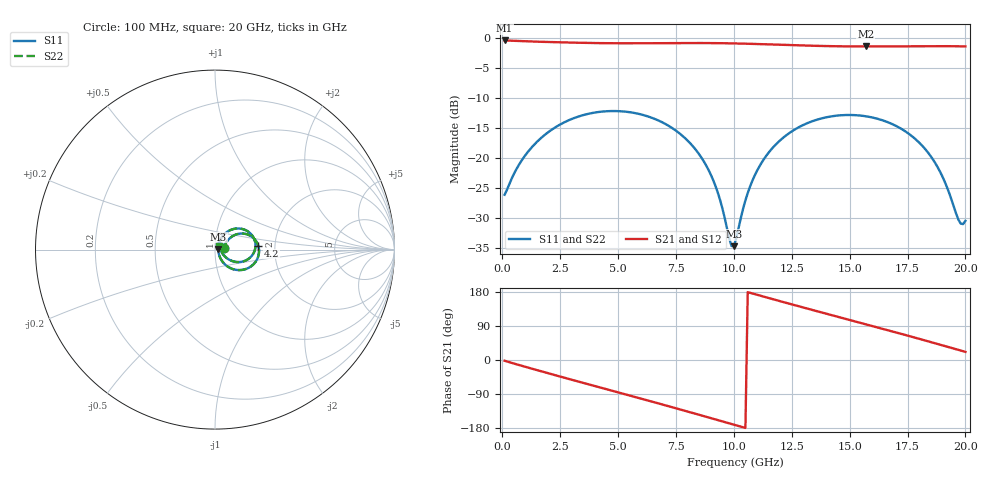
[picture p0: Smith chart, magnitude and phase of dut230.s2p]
! Touchstone file exported from HFSS 2026.1.0
!  File:  C:/ffzhzh/LocalFiles/Ansys_Project_Files/temp_train_TSV_RDL_230_1783064601_18316.aedt
!  Generated:  03:56:10 PM Jul  3, 2026
!  Design:  TSV_RDL
!  Project:  temp_train_TSV_RDL_230_1783064601_18316
! Variables:
!  h_bsmrdl = 2.21um
!  h_ox = 20um
!  h_rdl = 5um
!  h_sub = 70.96um
!  h_tmrdl = 3.82um
!  h_tsv = 70.96um
!  h_via = 3um
!  l_bsmrdl = 473.05um
!  l_sub = 5794.61um
!  l_tmrdl = 969.49um
!  m_sub = 200um
!  pitch = 21.45um
!  r_tsv = 2.15um
!  s_tmrdl = 10um
!  w_bsmrdl = 18.75um
!  w_sub = 500um
!  w_tmrdl = 13.75um
!  x_tsv_center1 = 976.365um
!  x_tsv_center2 = 1468.165um
!  x_tsv_center3 = 2451.405um
!  x_tsv_center4 = 2943.205um
!  x_tsv_center5 = 3926.445um
!  x_tsv_center6 = 4418.245um
# GHz S MA R 50.000000
! Terminal data exported
! Port[1] = TM_RDL1_1_T1
! Port[2] = TM_RDL5_1_T1
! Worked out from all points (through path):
!   200 points, 100 MHz to 20 GHz, reference 50 ohm
!   highest |S21| = -0.43 dB at 100 MHz (marker M1); lowest = -1.4 dB at 15.7 GHz (marker M2)
!   group delay of S21, straight-line fit = 46.8 ps
!   lowest |S11| = -34.7 dB at 10 GHz (marker M3), VSWR 1.04, Z = 51.8 + j0.397 ohm
!   |S11| at or under -10 dB: start of sweep to end of sweep
!   |S22| runs from -34.7 to -12.2 dB; largest |S21 - S12| = 1.7e-14
!   S11 on the Smith chart (normalised r, x): 100 MHz: 1.10, +0.02; 4.2 GHz: 1.63, +0.08; 20 GHz: 1.05, +0.04
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0.1  0.04925 11.4  0.952 -2.0  0.952 -2.0  0.04925 11.4
! Gamma 0 0 0 0
! Port Impedance 50 0 50 0
0.7  0.08634 35.8  0.9406 -12.9  0.9406 -12.9  0.08634 35.8
1.5  0.1362 36.5  0.9298 -26.7  0.9298 -26.7  0.1362 36.5
3.5  0.2273 15.0  0.9093 -60.5  0.9093 -60.5  0.2274 15.0
4.2  0.2417 5.4  0.9047 -72.1  0.9047 -72.1  0.2417 5.4
5.5  0.2403 -13.4  0.9016 -93.7  0.9016 -93.7  0.2403 -13.3
6.8  0.2025 -32.4  0.9039 -115.5  0.9039 -115.5  0.2026 -32.4
8.7  0.09361 -56.8  0.9061 -148.0  0.9061 -148.0  0.09363 -56.8
9.2  0.05877 -58.2  0.9046 -156.7  0.9046 -156.7  0.05879 -58.2
9.8  0.0213 -28.1  0.9011 -167.2  0.9011 -167.2  0.02132 -28.1
10  0.01836 12.0  0.8996 -170.6  0.8996 -170.6  0.01837 12.0
10.1  0.0211 30.6  0.8988 -172.4  0.8988 -172.4  0.02111 30.6
10.6  0.05092 60.4  0.8939 179.0  0.8939 179.0  0.05092 60.4
11.3  0.09766 59.3  0.8857 167.0  0.8857 167.0  0.09767 59.3
12.2  0.1509 48.9  0.8741 151.8  0.8741 151.8  0.151 48.9
13.4  0.2023 32.3  0.8599 131.9  0.8599 131.9  0.2024 32.3
15.7  0.2221 -0.5  0.8481 94.4  0.8481 94.4  0.2222 -0.5
16.7  0.1964 -14.4  0.8495 77.9  0.8495 77.9  0.1965 -14.4
18.4  0.1098 -34.3  0.8537 49.2  0.8537 49.2  0.1099 -34.3
19  0.07039 -35.3  0.8536 38.8  0.8536 38.8  0.07052 -35.3
19.7  0.03049 -3.6  0.8513 26.7  0.8513 26.7  0.03057 -3.9
20  0.02985 36.3  0.8496 21.5  0.8496 21.5  0.02982 36.0
